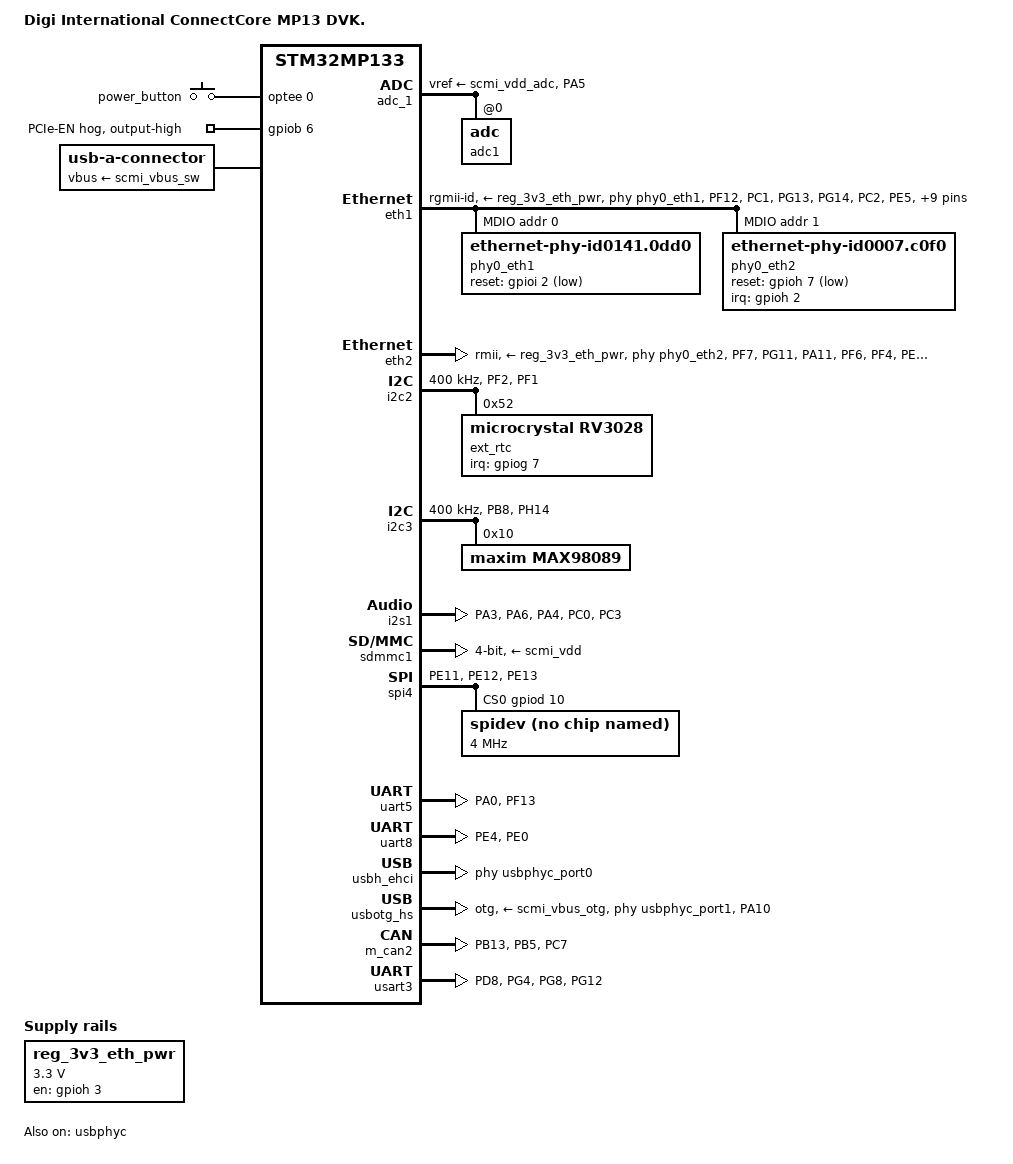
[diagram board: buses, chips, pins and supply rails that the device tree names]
/*
 * Copyright 2022-2023 Digi International, Inc.
 *
 * The code contained herein is licensed under the GNU General Public
 * License. You may obtain a copy of the GNU General Public License
 * Version 2 or later at the following locations:
 *
 * http://www.opensource.org/licenses/gpl-license.html
 * http://www.gnu.org/copyleft/gpl.html
 */

/dts-v1/;

//#include <dt-bindings/gpio/gpio.h>
#include <dt-bindings/input/input.h>
#include <dt-bindings/leds/common.h>
#include <dt-bindings/rtc/rtc-stm32.h>
#include "ccmp13.dtsi"
#include "stm32mp13xc.dtsi"
#include "stm32mp13-pinctrl.dtsi"

/ {
	model = "Digi International ConnectCore MP13 DVK.";
	compatible = "digi,ccmp13-dvk", "digi,ccmp13", "digi,ccmp1", "st,stm32mp133";
	digi,machine,name = "ccmp133-dvk";

	aliases {
		ethernet0 = &eth1;
		ethernet1 = &eth2;
		mmc1 = &sdmmc1; /* Micro SD */
		serial0 = &uart5;
		serial1 = &usart1;
		serial2 = &uart8;
		serial3 = &usart3;
		serial4 = &usart2;
	};

	chosen {
		#address-cells = <1>;
		#size-cells = <1>;
		ranges;
		stdout-path = "serial0:115200n8";
	};

	regulators {
		compatible = "simple-bus";
		#address-cells = <1>;
		#size-cells = <0>;

		reg_3v3_eth_pwr: regulator@1 {
			compatible = "regulator-fixed";
			reg = <1>;
			regulator-name = "3v3_eth_pwr";
			regulator-min-microvolt = <3300000>;
			regulator-max-microvolt = <3300000>;
			regulator-always-on;
			gpio = <&gpioh 3 GPIO_ACTIVE_HIGH>;
			enable-active-high;
			status = "okay";
		};
	};

	sound_max98089: sound-max98089 {
		compatible = "simple-audio-card";
		simple-audio-card,name = "stm32max98088";
		simple-audio-card,format = "i2s";
		simple-audio-card,bitclock-master = <&cpu_dai>;
		simple-audio-card,frame-master = <&cpu_dai>;
		routing =
			"Headphone Jack", "HPL",
			"Headphone Jack", "HPR",
			"Ext Spk", "SPKL",
			"Ext Spk", "SPKR",
			"LineOut", "RECL",
			"LineOut", "RECR",
			"Mic1", "MIC1",
			"Mic2", "MIC2",
			"LineInA", "INA1",
			"LineInA", "INA2",
			"LineInB", "INB1",
			"LineInB", "INB2";

		cpu_dai: simple-audio-card,cpu {
			sound-dai = <&i2s1>;
			system-clock-direction-out;
			clocks = <&rcc SPI1_K>;
		};

		codec_dai: simple-audio-card,codec {
			sound-dai = <&max98089>;
		};
	};

	power_button {
		compatible = "gpio-keys";
		status = "okay";

		button {
			label = "power_button";
			linux,code = <KEY_POWER>;
			interrupts-extended = <&optee 0>;
			status = "okay";
		};
	};
};

&adc_1 {
	/* PA5 which is shared with MikroE PWM */
	pinctrl-names = "default";
	pinctrl-0 = <&ccmp13_adc1_pins>;
	vdda-supply = <&scmi_vdd_adc>;
	vref-supply = <&scmi_vdd_adc>;
	status = "okay";

	adc1: adc@0 {
		status = "okay";
		channel@2 {
			reg = <2>;
			st,min-sample-time-nsecs = <5000>;
		};
	};
};

/* 10/100/1000 Ethernet */
&eth1 {
	status = "okay";
	pinctrl-0 = <&ccmp13_eth1_rgmii_pins>;
	pinctrl-1 = <&ccmp13_eth1_rgmii_sleep_pins>;
	pinctrl-names = "default", "sleep";
	phy-mode = "rgmii-id";
	max-speed = <1000>;
	phy-handle = <&phy0_eth1>;
	phy-supply = <&reg_3v3_eth_pwr>;

	mdio1 {
		#address-cells = <1>;
		#size-cells = <0>;
		compatible = "snps,dwmac-mdio";

		phy0_eth1: ethernet-phy@0 {
			reg = <0>;
			compatible = "ethernet-phy-id0141.0dd0"; /* PHY ID for Marvell 88E1512 */
			reset-gpios = <&gpioi 2 (GPIO_ACTIVE_LOW | GPIO_PULL_UP)>;
			reset-assert-us = <1000>;
			reset-deassert-us = <2000>;
		};

		phy0_eth2: ethernet-phy@1 {
			reg = <1>;
			compatible = "ethernet-phy-id0007.c0f0"; /* PHY ID for SMSC LAN8720Ai */
			reset-gpios = <&gpioh 7 (GPIO_ACTIVE_LOW | GPIO_PULL_UP)>;
			interrupt-parent = <&gpioh>;
			interrupts = <2 IRQ_TYPE_LEVEL_LOW>;
		};
	};
};

/* 10/100 Ethernet */
&eth2 {
	status = "okay";
	pinctrl-0 = <&ccmp13_eth2_rmii_pins>;
	pinctrl-1 = <&ccmp13_eth2_rmii_sleep_pins>;
	pinctrl-names = "default", "sleep";
	phy-mode = "rmii";
	max-speed = <100>;
	phy-handle = <&phy0_eth2>;
	st,ext-phyclk;
	phy-supply = <&reg_3v3_eth_pwr>;
};

&i2c2 {
	pinctrl-names = "default", "sleep";
	pinctrl-0 = <&ccmp13_i2c2_pins_a>;
	pinctrl-1 = <&ccmp13_i2c2_sleep_pins_a>;
	i2c-scl-rising-time-ns = <170>;
	i2c-scl-falling-time-ns = <5>;
	clock-frequency = <400000>;
	status = "okay";
	/* spare dmas for other usage */
	/delete-property/dmas;
	/delete-property/dma-names;

	ext_rtc: ext_rtc@52 {
		compatible = "microcrystal,rv3028";
		reg = <0x52>;
		interrupt-parent = <&gpiog>;
		interrupts = <7 IRQ_TYPE_EDGE_FALLING>;
		wakeup-source;
	};
};

&i2c3 {
	pinctrl-names = "default", "sleep";
	pinctrl-0 = <&ccmp13_i2c3_pins_a>;
	pinctrl-1 = <&ccmp13_i2c3_sleep_pins_a>;
	i2c-scl-rising-time-ns = <170>;
	i2c-scl-falling-time-ns = <5>;
	clock-frequency = <400000>;
	status = "okay";
	/* spare dmas for other usage */
	/delete-property/dmas;
	/delete-property/dma-names;

	max98089: codec@10 {
		compatible = "maxim,max98089";
		reg = <0x10>;
		clocks = <&rcc SPI1_K>;
		clock-names = "mclk";
		#sound-dai-cells = <0>;
		#clock-cells = <0>;
		status = "okay";
	};
};

&i2s1 {
	#clock-cells = <0>;
	#sound-dai-cells = <0>;
	clocks = <&rcc SPI1>, <&rcc SPI1_K>, <&scmi_clk CK_SCMI_PLL3_Q>, <&scmi_clk CK_SCMI_PLL3_R>;
	clock-names = "pclk", "i2sclk", "x8k", "x11k";
	pinctrl-names = "default", "sleep";
	pinctrl-0 = <&ccmp13_i2s1_pins_a>;
	pinctrl-1 = <&ccmp13_i2s1_sleep_pins_a>;
	digi,i2s-master;
	status = "okay";
};

/* PCIe connector uses USB */
&gpiob {
	pcie {
		gpio-hog;
		gpios = <6 0>;
		output-high;
		line-name = "PCIe-EN";
	};
};

/* Micro SD */
&sdmmc1 {
	pinctrl-names = "default", "opendrain", "sleep";
	pinctrl-0 = <&sdmmc1_b4_pins_a &sdmmc1_clk_pins_a>;
	pinctrl-1 = <&sdmmc1_b4_od_pins_a &sdmmc1_clk_pins_a>;
	pinctrl-2 = <&sdmmc1_b4_sleep_pins_a>;
	broken-cd;
	disable-wp;
	st,neg-edge;
	bus-width = <4>;
	no-1-8-v;
	vmmc-supply = <&scmi_vdd>;
	vqmmc-supply = <&scmi_vdd_sd>;
	status = "okay";
};

&spi4 {
	pinctrl-names = "default", "sleep";
	pinctrl-0 = <&ccmp13_spi4_pins>;
	pinctrl-1 = <&ccmp13_spi4_sleep_pins>;
	cs-gpios = <&gpiod 10 0>;
	status = "okay";

	spidev@0{
		/*
		 * spidev uses a compatible string 'rohm,fs2228fv' to have the
		 * driver create an spi device node. This is just an example,
		 * there is not a real device connected on the SPI bus.
		 */
		compatible = "rohm,dh2228fv";
		reg = <0>;
		spi-max-frequency = <4000000>;
	};
};

&timers3 {
	/delete-property/dmas;
	/delete-property/dma-names;
	status = "disabled";
	pwm {
		pinctrl-0 = <&pwm3_pins_a>;
		pinctrl-1 = <&pwm3_sleep_pins_a>;
		pinctrl-names = "default", "sleep";
		status = "okay";
	};
	timer@2 {
		status = "okay";
	};
};

&timers4 {
	/delete-property/dmas;
	/delete-property/dma-names;
	status = "disabled";
	pwm {
		pinctrl-0 = <&pwm4_pins_a>;
		pinctrl-1 = <&pwm4_sleep_pins_a>;
		pinctrl-names = "default", "sleep";
		status = "okay";
	};
	timer@3 {
		status = "okay";
	};
};

&timers8 {
	/delete-property/dmas;
	/delete-property/dma-names;
	status = "disabled";
	pwm {
		pinctrl-0 = <&ccmp13_pwm8_pins_a>;
		pinctrl-1 = <&ccmp13_pwm8_sleep_pins_a>;
		pinctrl-names = "default", "sleep";
		status = "okay";
	};
	timer@7 {
		status = "okay";
	};
};

&timers14 {
	status = "disabled";
	pwm {
		pinctrl-0 = <&pwm14_pins_a>;
		pinctrl-1 = <&pwm14_sleep_pins_a>;
		pinctrl-names = "default", "sleep";
		status = "okay";
	};
	timer@13 {
		status = "okay";
	};
};

/* Console on UART5 */
&uart5 {
	pinctrl-names = "default", "sleep", "idle";
	pinctrl-0 = <&ccmp13_uart5_pins_a>;
	pinctrl-1 = <&ccmp13_uart5_sleep_pins_a>;
	pinctrl-2 = <&ccmp13_uart5_idle_pins_a>;
	/delete-property/dmas;
	/delete-property/dma-names;
	status = "okay";
};

&uart8 {
	pinctrl-names = "default", "sleep", "idle";
	pinctrl-0 = <&ccmp13_uart8_pins_a>;
	pinctrl-1 = <&ccmp13_uart8_sleep_pins_a>;
	pinctrl-2 = <&ccmp13_uart8_idle_pins_a>;
	/delete-property/dmas;
	/delete-property/dma-names;
	status = "okay";
};

&usart1 {
	pinctrl-names = "default", "sleep", "idle";
	pinctrl-0 = <&usart1_pins_a>;
	pinctrl-1 = <&usart1_sleep_pins_a>;
	pinctrl-2 = <&usart1_idle_pins_a>;
	uart-has-rtscts;
	status = "disabled";
};

&usbh_ehci {
	phys = <&usbphyc_port0>;
	status = "okay";
};

&usbotg_hs {
	pinctrl-0 = <&ccmp13_usbotg_hs_pins>;
	pinctrl-names = "default";
	dr_mode = "otg";
	phy-names = "usb2-phy";
	phys = <&usbphyc_port1 0>;
	status = "okay";
	vbus-supply = <&scmi_vbus_otg>;
};

&usbphyc {
	status = "okay";
};

&usbphyc_port0 {
	phy-supply = <&scmi_vdd_usb>;
	st,current-boost-microamp = <1000>;
	st,decrease-hs-slew-rate;
	st,tune-hs-dc-level = <2>;
	st,enable-hs-rftime-reduction;
	st,trim-hs-current = <11>;
	st,trim-hs-impedance = <2>;
	st,tune-squelch-level = <1>;
	st,enable-hs-rx-gain-eq;
	st,no-hs-ftime-ctrl;
	st,no-lsfs-sc;

	/*
	 * Hack to keep hub active if wakeup source is enabled
	 * otherwise the hub will wakeup the port0 as soon as the vbus_sw is disabled
	 */
	connector {
		compatible = "usb-a-connector";
		vbus-supply = <&scmi_vbus_sw>;
	};
};

&usbphyc_port1 {
	phy-supply = <&scmi_vdd_usb>;
	st,current-boost-microamp = <1000>;
	st,decrease-hs-slew-rate;
	st,tune-hs-dc-level = <2>;
	st,enable-hs-rftime-reduction;
	st,trim-hs-current = <11>;
	st,trim-hs-impedance = <2>;
	st,tune-squelch-level = <1>;
	st,enable-hs-rx-gain-eq;
	st,no-hs-ftime-ctrl;
	st,no-lsfs-sc;
};

&m_can2 {
	pinctrl-names = "default", "sleep";
	pinctrl-0 = <&ccmp13_can2_pins_a>;
	pinctrl-1 = <&ccmp13_can2_sleep_pins_a>;
	status = "okay";
};

/* RS485 */
&usart3 {
	linux,rs485-enabled-at-boot-time;
	pinctrl-names = "default","sleep";
	pinctrl-0 = <&ccmp13_usart3_pins_a &ccmp13_usart3_rtscts_pins_a>;
	pinctrl-1 = <&ccmp13_usart3_sleep_pins_a>;
	uart-has-rtscts;
	status = "okay";
};

&pinctrl {
	ccmp13_adc1_pins: ccmp13_adc1-pins-0 {
		pins {
			pinmux = <STM32_PINMUX('A', 5, ANALOG)>; /* ADC1 in2 */
		};
	};

	ccmp13_eth1_rgmii_pins: ccmp13-eth1-rgmii-1 {
		pins1 {
			pinmux = <STM32_PINMUX('F', 12, AF11)>, /* ETH1_CLK125 */
				 <STM32_PINMUX('C', 1,  AF11)>, /* ETH1_GTX_CLK */
				 <STM32_PINMUX('G', 13, AF11)>, /* ETH1_TXD0 */
				 <STM32_PINMUX('G', 14, AF11)>, /* ETH1_TXD1 */
				 <STM32_PINMUX('C', 2,  AF11)>, /* ETH1_TXD2 */
				 <STM32_PINMUX('E', 5,  AF10)>, /* ETH1_TXD3 */
				 <STM32_PINMUX('B', 11, AF11)>, /* ETH1_TX_EN */
				 <STM32_PINMUX('G', 2,  AF11)>; /* ETH1_MDC */
			bias-disable;
			drive-push-pull;
			slew-rate = <2>;
		};
		pins2 {
			pinmux = <STM32_PINMUX('A', 2, AF11)>; /* ETH1_MDIO */
			bias-disable;
			drive-push-pull;
			slew-rate = <0>;
		};
		pins3 {
			pinmux = <STM32_PINMUX('C', 4, AF11)>, /* ETH1_RXD0 */
				 <STM32_PINMUX('C', 5, AF11)>, /* ETH1_RXD1 */
				 <STM32_PINMUX('B', 0, AF11)>, /* ETH1_RXD2 */
				 <STM32_PINMUX('B', 1, AF11)>, /* ETH1_RXD3 */
				 <STM32_PINMUX('D', 7, AF10)>, /* ETH1_REF_CLK */
				 <STM32_PINMUX('A', 7, AF11)>; /* ETH1_RX_DV */
			bias-disable;
		};
	};

	ccmp13_eth1_rgmii_sleep_pins: ccmp13-eth1-rgmii-sleep-1 {
		pins1 {
			pinmux = <STM32_PINMUX('F', 12, ANALOG)>, /* ETH1_CLK125 */
				 <STM32_PINMUX('C', 1,  ANALOG)>, /* ETH1_GTX_CLK */
				 <STM32_PINMUX('G', 13, ANALOG)>, /* ETH1_TXD0 */
				 <STM32_PINMUX('G', 14, ANALOG)>, /* ETH1_TXD1 */
				 <STM32_PINMUX('C', 2,  ANALOG)>, /* ETH1_TXD2 */
				 <STM32_PINMUX('E', 5,  ANALOG)>, /* ETH1_TXD3 */
				 <STM32_PINMUX('B', 11, ANALOG)>, /* ETH1_TX_EN */
				 <STM32_PINMUX('G', 2,  ANALOG)>, /* ETH1_MDC */
				 <STM32_PINMUX('A', 2,  ANALOG)>, /* ETH1_MDIO */
				 <STM32_PINMUX('C', 4,  ANALOG)>, /* ETH1_RXD0 */
				 <STM32_PINMUX('C', 5,  ANALOG)>, /* ETH1_RXD1 */
				 <STM32_PINMUX('B', 0,  ANALOG)>, /* ETH1_RXD2 */
				 <STM32_PINMUX('B', 1,  ANALOG)>, /* ETH1_RXD3 */
				 <STM32_PINMUX('D', 7,  ANALOG)>, /* ETH1_REF_CLK */
				 <STM32_PINMUX('A', 7,  ANALOG)>; /* ETH1_RX_DV */
		 };
	};

	ccmp13_eth2_rmii_pins: ccmp13-eth2-rmii-1 {
		pins1 {
			pinmux = <STM32_PINMUX('F', 7,  AF11)>, /* ETH2_TXD0 */
				 <STM32_PINMUX('G', 11, AF10)>, /* ETH2_TXD1 */
				 <STM32_PINMUX('A', 11, AF13)>, /* ETH2_CLK */
				 <STM32_PINMUX('F', 6,  AF11)>; /* ETH2_TX_EN */
			bias-disable;
			drive-push-pull;
			slew-rate = <1>;
		};

		pins2 {
			pinmux = <STM32_PINMUX('F', 4,  AF11)>, /* ETH2_RXD0 */
				 <STM32_PINMUX('E', 2,  AF10)>, /* ETH2_RXD1 */
				 <STM32_PINMUX('A', 12, AF11)>, /* ETH2_RX_DV */
				 <STM32_PINMUX('F', 11, AF12)>; /* ETH2_RX_ER */
			bias-disable;
		};
	};

	ccmp13_eth2_rmii_sleep_pins: ccmp13-eth2-rmii-sleep-1 {
		pins1 {
			pinmux = <STM32_PINMUX('F', 7,  ANALOG)>, /* ETH2_TXD0 */
				 <STM32_PINMUX('G', 11, ANALOG)>, /* ETH2_TXD1 */
				 <STM32_PINMUX('A', 11, ANALOG)>, /* ETH2_CLK */
				 <STM32_PINMUX('F', 6,  ANALOG)>, /* ETH2_TX_EN */
				 <STM32_PINMUX('F', 4,  ANALOG)>, /* ETH2_RXD0 */
				 <STM32_PINMUX('E', 2,  ANALOG)>, /* ETH2_RXD1 */
				 <STM32_PINMUX('A', 12, ANALOG)>, /* ETH2_RX_DV */
				 <STM32_PINMUX('F', 11, ANALOG)>; /* ETH2_RX_ER */
		};
	};

	ccmp13_i2c2_pins_a: ccmp13_i2c2-0 {
		pins {
			pinmux = <STM32_PINMUX('F', 2, AF4)>, /* I2C2_SCL */
				 <STM32_PINMUX('F', 1, AF4)>; /* I2C2_SDA */
			bias-disable;
			drive-open-drain;
			slew-rate = <0>;
		};
	};

	ccmp13_i2c2_sleep_pins_a: ccmp13_i2c2-sleep-0 {
		pins {
			pinmux = <STM32_PINMUX('F', 2, ANALOG)>, /* I2C2_SCL */
				 <STM32_PINMUX('F', 1, ANALOG)>; /* I2C2_SDA */
		};
	};

	ccmp13_i2c3_pins_a: ccmp13_i2c3-0 {
		pins {
			pinmux = <STM32_PINMUX('B', 8, AF5)>, /* I2C3_SCL */
				 <STM32_PINMUX('H', 14, AF4)>; /* I2C3_SDA */
			bias-disable;
			drive-open-drain;
			slew-rate = <0>;
		};
	};

	ccmp13_i2c3_sleep_pins_a: ccmp13_i2c3-sleep-0 {
		pins {
			pinmux = <STM32_PINMUX('B', 8, ANALOG)>, /* I2C3_SCL */
				 <STM32_PINMUX('H', 14, ANALOG)>; /* I2C3_SDA */
		};
	};

	ccmp13_i2s1_pins_a: ccmp13_i2s1-0 {
		pins {
			pinmux = <STM32_PINMUX('A', 3, AF5)>, /* I2S1_SDO */
				 <STM32_PINMUX('A', 6, AF5)>, /* I2S1_SDI */
				 <STM32_PINMUX('A', 4, AF5)>, /* I2S1_WS */
				 <STM32_PINMUX('C', 0, AF5)>, /* I2S1_MCK */
				 <STM32_PINMUX('C', 3, AF6)>; /* I2S1_CK */
			slew-rate = <1>;
			drive-push-pull;
			bias-disable;
		};
	};

	ccmp13_i2s1_sleep_pins_a: ccmp13_i2s1-sleep-0 {
		pins {
			pinmux = <STM32_PINMUX('A', 3, ANALOG)>, /* I2S1_SDO */
				 <STM32_PINMUX('A', 6, ANALOG)>, /* I2S1_SDI */
				 <STM32_PINMUX('A', 4, ANALOG)>, /* I2S1_WS */
				 <STM32_PINMUX('C', 0, ANALOG)>, /* I2S1_MCK */
				 <STM32_PINMUX('C', 3, ANALOG)>; /* I2S1_CK */
		};
	};

	ccmp13_pwm8_pins_a: pwm8-0 {
		pins {
			pinmux = <STM32_PINMUX('A', 5, AF3)>; /* TIM8_CH1 */
			bias-pull-down;
			drive-push-pull;
			slew-rate = <0>;
		};
	};

	ccmp13_pwm8_sleep_pins_a: pwm8-sleep-0 {
		pins {
			pinmux = <STM32_PINMUX('A', 5, ANALOG)>;
		};
	};

	ccmp13_spi4_pins: ccmp13-spi4-0 {
		pins1 {
			pinmux = <STM32_PINMUX('E', 11, AF5)>, /* SPI4_MOSI */
				 <STM32_PINMUX('E', 12, AF5)>; /* SPI4_SCK */
			bias-disable;
			drive-push-pull;
			slew-rate = <1>;
		};

		pins2 {
			pinmux = <STM32_PINMUX('E', 13, AF5)>; /* SPI4_MISO */
			bias-disable;
		};
	};

	ccmp13_spi4_sleep_pins: ccmp13-spi4-sleep-0 {
		pins {
			pinmux = <STM32_PINMUX('E', 11, ANALOG)>, /* SPI4_MOSI */
				 <STM32_PINMUX('E', 12, ANALOG)>, /* SPI4_SCK */
				 <STM32_PINMUX('E', 13, ANALOG)>; /* SPI4_MISO */
		};
	};

	ccmp13_uart5_pins_a: ccmp13_uart5-0 {
		pins1 {
			pinmux = <STM32_PINMUX('A', 0, AF8)>; /* UART5_TX */
			bias-disable;
			drive-push-pull;
			slew-rate = <0>;
		};
		pins2 {
			pinmux = <STM32_PINMUX('F', 13, AF8)>; /* UART5_RX */
			bias-pull-up;
		};
	};

	ccmp13_uart5_idle_pins_a: ccmp13_uart5-idle-0 {
		pins1 {
			pinmux = <STM32_PINMUX('A', 0, ANALOG)>; /* UART5_TX */
		};
		pins2 {
			pinmux = <STM32_PINMUX('F', 13, AF8)>; /* UART5_RX */
			bias-pull-up;
		};
	};

	ccmp13_uart5_sleep_pins_a: ccmp13_uart5-sleep-0 {
		pins {
			pinmux = <STM32_PINMUX('A', 0, ANALOG)>, /* UART5_TX */
				 <STM32_PINMUX('F', 13, ANALOG)>; /* UART5_RX */
		};
	};

	ccmp13_uart8_pins_a: uart8-0 {
		pins1 {
			pinmux = <STM32_PINMUX('E', 4, AF8)>; /* UART8_TX */
			bias-disable;
			drive-push-pull;
			slew-rate = <0>;
		};
		pins2 {
			pinmux = <STM32_PINMUX('E', 0, AF8)>; /* UART8_RX */
			bias-pull-up;
		};
	};

	ccmp13_uart8_idle_pins_a: uart8-idle-0 {
		pins1 {
			pinmux = <STM32_PINMUX('E', 4, ANALOG)>; /* UART8_TX */
		};
		pins2 {
			pinmux = <STM32_PINMUX('E', 0, AF8)>; /* UART8_RX */
			bias-pull-up;
		};
	};

	ccmp13_uart8_sleep_pins_a: uart8-sleep-0 {
		pins {
			pinmux = <STM32_PINMUX('E', 4, ANALOG)>, /* UART8_TX */
				 <STM32_PINMUX('E', 0, ANALOG)>; /* UART8_RX */
		};
	};

	ccmp13_usart3_pins_a: ccmp13-usart3-0 {
		pins1 {
			pinmux = <STM32_PINMUX('D', 8, AF7)>; /* USART3_TX */
			bias-disable;
			drive-push-pull;
			slew-rate = <0>;
		};
		pins2 {
			pinmux = <STM32_PINMUX('G', 4, AF8)>; /* USART3_RX */
			bias-disable;
		};
	};

	ccmp13_usart3_rtscts_pins_a: ccmp13-usart3rtscts-0 {
		pins1 {
			pinmux = <STM32_PINMUX('G', 8, AF8)>; /* USART3_RTS */
			bias-disable;
			drive-push-pull;
			slew-rate = <0>;
		};
		pins2 {
			pinmux = <STM32_PINMUX('G', 12, AF8)>; /* USART3_CTS */
			bias-disable;
		};
	};

	ccmp13_usart3_sleep_pins_a: ccmp13-usart3_sleep-0 {
		pins {
			pinmux = <STM32_PINMUX('D', 8, ANALOG)>, /* USART3_TX */
				 <STM32_PINMUX('G', 4, ANALOG)>, /* USART3_RX */
				 <STM32_PINMUX('G', 8, ANALOG)>, /* USART3_RTS */
				 <STM32_PINMUX('G', 12, ANALOG)>; /* USART3_CTS */
		};
	};

	ccmp13_usbotg_hs_pins: ccmp13_usbotg-hs-0 {
		pins {
			pinmux = <STM32_PINMUX('A', 10, ANALOG)>; /* OTG_ID */
		};
	};

	ccmp13_can2_pins_a: ccmp13-can2-0 {
		pins1 {
			pinmux = <STM32_PINMUX('B', 13, AF9)>; /* CAN2_TX */
			slew-rate = <1>;
			drive-push-pull;
			bias-disable;
		};
		pins2 {
			pinmux = <STM32_PINMUX('B', 5, AF9)>; /* CAN2_RX */
			bias-disable;
		};
		pins3 {
			pinmux = <STM32_PINMUX('C', 7, GPIO)>; /* FDCAN2_STB */
			bias-pull-down;
			drive-push-pull;
			slew-rate = <0>;
		};
	};

	ccmp13_can2_sleep_pins_a: ccmp13-can2-sleep-0 {
		pins {
			pinmux = <STM32_PINMUX('B', 13, ANALOG)>, /* CAN2_TX */
				 <STM32_PINMUX('B', 5, ANALOG)>, /* CAN2_RX */
				 <STM32_PINMUX('C', 7, ANALOG)>; /* FDCAN2_STB */
		};
	};
};
